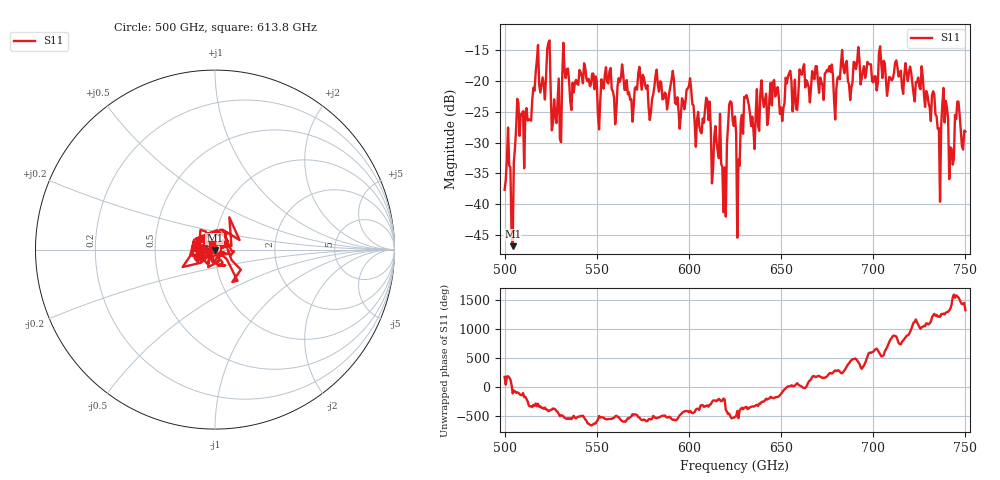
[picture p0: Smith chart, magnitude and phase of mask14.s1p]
!Created with skrf (http://scikit-rf.org).
# GHz S MA R 50.0
!freq magS11 angS11
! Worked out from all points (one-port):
!   401 points, 500 GHz to 750 GHz, reference 50 ohm
!   lowest |S11| = -46.9 dB at 504.4 GHz (marker M1), VSWR 1.01, Z = 49.8 - j0.405 ohm
!   |S11| at or under -10 dB: start of sweep to end of sweep
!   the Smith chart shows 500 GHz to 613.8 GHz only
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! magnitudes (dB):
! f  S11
! 500 GHz  -37.7
! 504.4 GHz  -46.9
! 507.5 GHz  -23.6
! 511.9 GHz  -24.4
! 516.9 GHz  -18.5
! 523.8 GHz  -13.8
! 526.9 GHz  -23.0
! 531.2 GHz  -19.4
! 533.1 GHz  -19.5
! 551.9 GHz  -23.4
! 562.5 GHz  -20.1
! 593.8 GHz  -22.6
! 610 GHz  -23.1
! 618.8 GHz  -41.3
! 622.5 GHz  -23.3
! 625 GHz  -25.7
! 627.5 GHz  -33.8
! 631.2 GHz  -22.3
! 635 GHz  -28.0
! 656.2 GHz  -24.9
! 687.5 GHz  -23.1
! 718.8 GHz  -20.0
! 733.1 GHz  -22.2
! 735.6 GHz  -27.7
! 738.8 GHz  -26.7
! 742.5 GHz  -31.0
! 745.6 GHz  -23.3
! 750 GHz  -28.2
